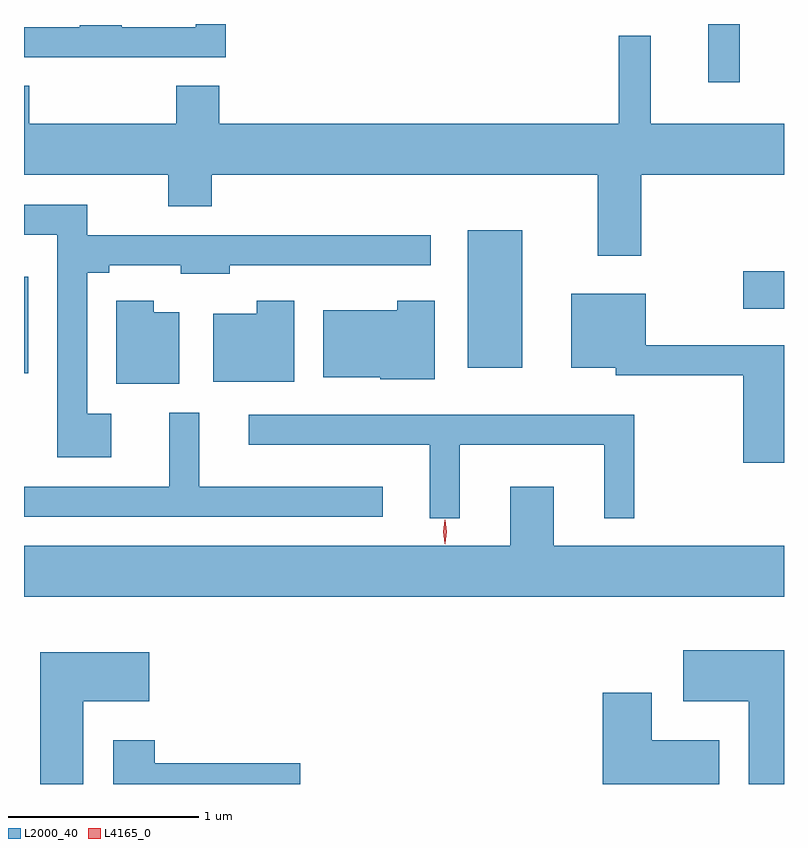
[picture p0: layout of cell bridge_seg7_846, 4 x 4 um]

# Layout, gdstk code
import gdstk
lib = gdstk.Library(unit=1e-6, precision=1e-09)
def R(c, l, rs):  # rectangles x0, y0, x1, y1
    for r in rs: c.add(gdstk.rectangle(r[:2], r[2:], *l))
def P(c, l, *ps):  # polygons
    for p in ps: c.add(gdstk.Polygon(p, *l))
L2000_40 = (2000, 40)
L4165_0 = (4165, 0)

bridge_seg7_846 = lib.new_cell('bridge_seg7_846')
R(bridge_seg7_846, L2000_40, [(379.091,1688.851,379.114,1689.359), (381.426,1688.881,381.714,1689.604), (382.876,1689.191,383.091,1689.389), (382.691,1690.383,382.859,1690.69)])
P(bridge_seg7_846, L2000_40, [(380.154,1690.69),(379.996,1690.69),(379.996,1690.674),(379.605,1690.674),(379.605,1690.684),(379.385,1690.684),(379.385,1690.674),(379.091,1690.674),(379.091,1690.516),(380.154,1690.516)],
  [(382.339,1689.896),(383.091,1689.896),(383.091,1690.164),(382.389,1690.164),(382.389,1690.628),(382.221,1690.628),(382.221,1690.164),(380.119,1690.164),(380.119,1690.364),(379.891,1690.364),(379.891,1690.164),(379.119,1690.164),(379.119,1690.364),(379.091,1690.364),(379.091,1689.896),(379.851,1689.896),(379.851,1689.731),(380.079,1689.731),(380.079,1689.896),(382.111,1689.896),(382.111,1689.471),(382.339,1689.471)],
  [(379.549,1688.639),(379.424,1688.639),(379.424,1689.381),(379.539,1689.381),(379.539,1689.421),(379.916,1689.421),(379.916,1689.376),(380.174,1689.376),(380.174,1689.421),(381.233,1689.421),(381.233,1689.579),(379.424,1689.579),(379.424,1689.739),(379.091,1689.739),(379.091,1689.581),(379.266,1689.581),(379.266,1688.411),(379.549,1688.411)],
  [(383.091,1688.999),(382.364,1688.999),(382.364,1689.269),(381.971,1689.269),(381.971,1688.881),(382.206,1688.881),(382.206,1688.841),(382.876,1688.841),(382.876,1688.381),(383.091,1688.381)],
  [(381.254,1689.234),(381.056,1689.234),(381.056,1689.184),(380.666,1689.184),(380.666,1688.831),(380.965,1688.831),(380.965,1688.821),(381.254,1688.821)],
  [(379.909,1689.174),(379.774,1689.174),(379.774,1689.234),(379.576,1689.234),(379.576,1688.796),(379.909,1688.796)],
  [(380.514,1689.234),(380.316,1689.234),(380.316,1689.164),(380.086,1689.164),(380.086,1688.806),(380.514,1688.806)],
  [(380.978,1688.254),(380.014,1688.254),(380.014,1688.643),(379.856,1688.643),(379.856,1688.254),(379.091,1688.254),(379.091,1688.096),(380.978,1688.096)],
  [(381.384,1688.476),(382.146,1688.476),(382.146,1688.088),(382.304,1688.088),(382.304,1688.634),(380.273,1688.634),(380.273,1688.476),(381.226,1688.476),(381.226,1688.088),(381.384,1688.088)],
  [(383.091,1687.944),(381.879,1687.944),(381.879,1688.254),(381.651,1688.254),(381.651,1687.944),(379.091,1687.944),(379.091,1687.676),(383.091,1687.676)],
  [(383.091,1687.394),(382.561,1687.394),(382.561,1687.126),(382.906,1687.126),(382.906,1686.69),(383.091,1686.69)],
  [(379.404,1687.126),(379.749,1687.126),(379.749,1687.384),(379.176,1687.384),(379.176,1686.69),(379.404,1686.69)],
  [(382.749,1686.919),(382.394,1686.919),(382.394,1687.169),(382.136,1687.169),(382.136,1686.69),(382.749,1686.69)],
  [(380.544,1686.799),(379.779,1686.799),(379.779,1686.919),(379.561,1686.919),(379.561,1686.69),(380.544,1686.69)])
P(bridge_seg7_846, L4165_0, [(381.307,1687.953),(381.306,1687.954),(381.297,1688.017),(381.306,1688.081),(381.307,1688.082),(381.307,1688.081),(381.317,1688.017),(381.307,1687.954)])

lib.write_gds('bridge_seg7_846.gds')
